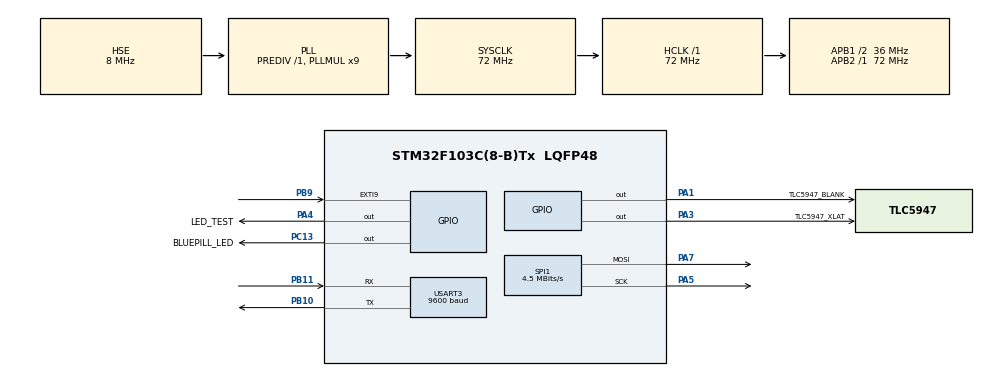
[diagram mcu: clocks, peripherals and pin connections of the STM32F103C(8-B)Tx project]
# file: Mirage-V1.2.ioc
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Mcu.Family=STM32F1
Mcu.Name=STM32F103C(8-B)Tx
Mcu.Package=LQFP48
NVIC.EXTI9_5_IRQn=true\:0\:0\:false\:false\:true\:true\:true
NVIC.PriorityGroup=NVIC_PRIORITYGROUP_4
NVIC.TIM3_IRQn=true\:0\:0\:false\:false\:true\:true\:true
PA1.GPIO_Label=TLC5947_BLANK
PA1.Signal=GPIO_Output
PA13.Mode=Serial_Wire
PA13.Signal=SYS_JTMS-SWDIO
PA14.Mode=Serial_Wire
PA14.Signal=SYS_JTCK-SWCLK
PA3.GPIO_Label=TLC5947_XLAT
PA3.Signal=GPIO_Output
PA4.GPIO_Label=LED_TEST
PA4.Signal=GPIO_Output
PA5.Mode=TX_Only_Simplex_Unidirect_Master
PA5.Signal=SPI1_SCK
PA7.Mode=TX_Only_Simplex_Unidirect_Master
PA7.Signal=SPI1_MOSI
PB10.Mode=Asynchronous
PB10.Signal=USART3_TX
PB11.Mode=Asynchronous
PB11.Signal=USART3_RX
PB9.Signal=GPXTI9
PC13-TAMPER-RTC.GPIO_Label=BLUEPILL_LED
PC13-TAMPER-RTC.Signal=GPIO_Output
PC14-OSC32_IN.Mode=LSE-External-Oscillator
PC14-OSC32_IN.Signal=RCC_OSC32_IN
PC15-OSC32_OUT.Mode=LSE-External-Oscillator
PC15-OSC32_OUT.Signal=RCC_OSC32_OUT
PD0-OSC_IN.Mode=HSE-External-Oscillator
PD0-OSC_IN.Signal=RCC_OSC_IN
PD1-OSC_OUT.Mode=HSE-External-Oscillator
PD1-OSC_OUT.Signal=RCC_OSC_OUT
ProjectManager.HeapSize=0x200
ProjectManager.StackSize=0x400
ProjectManager.TargetToolchain=STM32CubeIDE
RCC.AHBFreq_Value=72000000
RCC.APB1CLKDivider=RCC_HCLK_DIV2
RCC.APB1Freq_Value=36000000
RCC.APB1TimFreq_Value=72000000
RCC.APB2Freq_Value=72000000
RCC.APB2TimFreq_Value=72000000
RCC.HCLKFreq_Value=72000000
RCC.PLLMUL=RCC_PLL_MUL9
RCC.PLLSourceVirtual=RCC_PLLSOURCE_HSE
RCC.SYSCLKFreq_VALUE=72000000
RCC.SYSCLKSource=RCC_SYSCLKSOURCE_PLLCLK
RCC.USBFreq_Value=72000000
SPI1.BaudRatePrescaler=SPI_BAUDRATEPRESCALER_16
SPI1.CalculateBaudRate=4.5 MBits/s
SPI1.Direction=SPI_DIRECTION_2LINES
SPI1.Mode=SPI_MODE_MASTER
SPI1.VirtualType=VM_MASTER
TIM3.AutoReloadPreload=TIM_AUTORELOAD_PRELOAD_ENABLE
TIM3.Period=2000
TIM3.Prescaler=35999
USART3.BaudRate=9600
USART3.VirtualMode=VM_ASYNC
VP_TIM3_VS_ClockSourceINT.Mode=Internal
board=custom

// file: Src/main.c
/* USER CODE BEGIN Header */
/**
  ******************************************************************************
  * @file           : main.c
  * @brief          : Main program body
  ******************************************************************************
  * @attention
  *
  * <h2><center>&copy; Copyright (c) 2022 STMicroelectronics.
  * All rights reserved.</center></h2>
  *
  * This software component is licensed by ST under BSD 3-Clause license,
  * the "License"; You may not use this file except in compliance with the
  * License. You may obtain a copy of the License at:
  *                        opensource.org/licenses/BSD-3-Clause
  *
  ******************************************************************************
  */
/* USER CODE END Header */

#include "main.h"

/* USER CODE BEGIN Includes */
#include "mirage_spi.h" // macros para la conexion spi

/* USER CODE END Includes */

SPI_HandleTypeDef hspi1;

TIM_HandleTypeDef htim3;

UART_HandleTypeDef huart3;

/* USER CODE BEGIN PV */
uint16_t g_prevTime = 0 ,g_curTime = 0, g_tDelay = 0; //stores timertick
uint8_t uartByte; //used to send a byte through UART3

/*
 * SPI
 * https://www.bilibili.com/read/cv11912081/ 出处：bilibili
 */
uint8_t spi_send[SPI_BYTE_AMOUNT]={}; //acá escribo los valores a mandar via spi, lo incializo con todos los valores en 0

//uint16_t leds[24]=
//{
//512,512,1024,2048,2048,2048,
//2048,2048,2048,2048,2048,2048,
//2048,2048,2048,2048,2048,2048,
//2048,2048,3000,2048,2048,3072
//};

//RED por algun motivo flashero desde [15] hasta  [23] ponia 65355
uint16_t leds[24]=
{}; // todo en 0, le pongo valores con FillArray
uint8_t imain=0;
uint8_t flag=0;
/* USER CODE END PV */

void SystemClock_Config(void);
static void MX_GPIO_Init(void);
static void MX_SPI1_Init(void);
static void MX_TIM3_Init(void);
static void MX_USART3_UART_Init(void);
/* USER CODE BEGIN PFP */
//void TLC_Write(uint8_t data);// prototipo para mandar todo un vector de bytes
void TLC_Write(uint8_t data[]);// prototipo para mandar todo un vector de bytes

void TLC_Update(void);
void FillArray(uint8_t color);// prototipo para llenar el array en la prueba de los canales
/* USER CODE END PFP */

int main(void)
 {

  /* MCU Configuration--------------------------------------------------------*/

  /* Reset of all peripherals, Initializes the Flash interface and the Systick. */
  HAL_Init();

  /* Configure the system clock */
  SystemClock_Config();

  /* Initialize all configured peripherals */
  MX_GPIO_Init();
  MX_SPI1_Init();
  MX_TIM3_Init();
  MX_USART3_UART_Init();
  /* USER CODE BEGIN 2 */
  HAL_TIM_Base_Start_IT(&htim3);
//  HAL_TIM_Base_Start_IT(&htim2);

  FillArray(GREEN);
  //InitSPI();
  /* USER CODE END 2 */

  /* Infinite loop */
  /* USER CODE BEGIN WHILE */
//  HAL_GPIO_WritePin(TLC5947_BLANK_GPIO_Port, TLC5947_BLANK_Pin, GPIO_PIN_SET); // este pin en alto apaga los leds
//  FillArray(GREEN);
  while (1)
  {

/*
 * codigo de prueba de sensor hall via pulling

	  if(HAL_GPIO_ReadPin(GPIOB, GPIO_PIN_9) == GPIO_PIN_RESET) // hay lectura en el sensor hall
		  HAL_GPIO_WritePin(GPIOA, GPIO_PIN_4, GPIO_PIN_SET); // prendo el led
	  else
		  HAL_GPIO_WritePin(GPIOA, GPIO_PIN_4, GPIO_PIN_RESET); // apago el led
	  HAL_Delay(50);
*/

    /* USER CODE END WHILE */

    /* USER CODE BEGIN 3 */

//	  HAL_Delay(500);
//	 	  	TLC_Update();//renew PWM
//////	 	  	FillArray(imain);
//	 	  	if(imain > 2 )
//	 	  		imain = 0;
//	 	  	imain ++;
//	 	  	HAL_Delay(1);

  }
  /* USER CODE END 3 */
}

void SystemClock_Config(void)
{
  RCC_OscInitTypeDef RCC_OscInitStruct = {0};
  RCC_ClkInitTypeDef RCC_ClkInitStruct = {0};

  /** Initializes the CPU, AHB and APB busses clocks
  */
  RCC_OscInitStruct.OscillatorType = RCC_OSCILLATORTYPE_HSE;
  RCC_OscInitStruct.HSEState = RCC_HSE_ON;
  RCC_OscInitStruct.HSEPredivValue = RCC_HSE_PREDIV_DIV1;
  RCC_OscInitStruct.HSIState = RCC_HSI_ON;
  RCC_OscInitStruct.PLL.PLLState = RCC_PLL_ON;
  RCC_OscInitStruct.PLL.PLLSource = RCC_PLLSOURCE_HSE;
  RCC_OscInitStruct.PLL.PLLMUL = RCC_PLL_MUL9;
  if (HAL_RCC_OscConfig(&RCC_OscInitStruct) != HAL_OK)
  {
    Error_Handler();
  }
  /** Initializes the CPU, AHB and APB busses clocks
  */
  RCC_ClkInitStruct.ClockType = RCC_CLOCKTYPE_HCLK|RCC_CLOCKTYPE_SYSCLK
                              |RCC_CLOCKTYPE_PCLK1|RCC_CLOCKTYPE_PCLK2;
  RCC_ClkInitStruct.SYSCLKSource = RCC_SYSCLKSOURCE_PLLCLK;
  RCC_ClkInitStruct.AHBCLKDivider = RCC_SYSCLK_DIV1;
  RCC_ClkInitStruct.APB1CLKDivider = RCC_HCLK_DIV2;
  RCC_ClkInitStruct.APB2CLKDivider = RCC_HCLK_DIV1;

  if (HAL_RCC_ClockConfig(&RCC_ClkInitStruct, FLASH_LATENCY_2) != HAL_OK)
  {
    Error_Handler();
  }
}

static void MX_SPI1_Init(void)
{

  /* SPI1 parameter configuration*/
  hspi1.Instance = SPI1;
  hspi1.Init.Mode = SPI_MODE_MASTER;
  hspi1.Init.Direction = SPI_DIRECTION_2LINES;
  hspi1.Init.DataSize = SPI_DATASIZE_8BIT;
  hspi1.Init.CLKPolarity = SPI_POLARITY_LOW;
  hspi1.Init.CLKPhase = SPI_PHASE_1EDGE;
  hspi1.Init.NSS = SPI_NSS_SOFT;
  hspi1.Init.BaudRatePrescaler = SPI_BAUDRATEPRESCALER_16;
  hspi1.Init.FirstBit = SPI_FIRSTBIT_MSB;
  hspi1.Init.TIMode = SPI_TIMODE_DISABLE;
  hspi1.Init.CRCCalculation = SPI_CRCCALCULATION_DISABLE;
  hspi1.Init.CRCPolynomial = 10;
  if (HAL_SPI_Init(&hspi1) != HAL_OK)
  {
    Error_Handler();
  }

}

static void MX_TIM3_Init(void)
{

  TIM_ClockConfigTypeDef sClockSourceConfig = {0};
  TIM_MasterConfigTypeDef sMasterConfig = {0};

  htim3.Instance = TIM3;
  htim3.Init.Prescaler = 35999;
  htim3.Init.CounterMode = TIM_COUNTERMODE_UP;
  htim3.Init.Period = 2000;
  htim3.Init.ClockDivision = TIM_CLOCKDIVISION_DIV1;
  htim3.Init.AutoReloadPreload = TIM_AUTORELOAD_PRELOAD_ENABLE;
  if (HAL_TIM_Base_Init(&htim3) != HAL_OK)
  {
    Error_Handler();
  }
  sClockSourceConfig.ClockSource = TIM_CLOCKSOURCE_INTERNAL;
  if (HAL_TIM_ConfigClockSource(&htim3, &sClockSourceConfig) != HAL_OK)
  {
    Error_Handler();
  }
  sMasterConfig.MasterOutputTrigger = TIM_TRGO_RESET;
  sMasterConfig.MasterSlaveMode = TIM_MASTERSLAVEMODE_DISABLE;
  if (HAL_TIMEx_MasterConfigSynchronization(&htim3, &sMasterConfig) != HAL_OK)
  {
    Error_Handler();
  }

}

static void MX_USART3_UART_Init(void)
{

  huart3.Instance = USART3;
  huart3.Init.BaudRate = 9600;
  huart3.Init.WordLength = UART_WORDLENGTH_8B;
  huart3.Init.StopBits = UART_STOPBITS_1;
  huart3.Init.Parity = UART_PARITY_NONE;
  huart3.Init.Mode = UART_MODE_TX_RX;
  huart3.Init.HwFlowCtl = UART_HWCONTROL_NONE;
  huart3.Init.OverSampling = UART_OVERSAMPLING_16;
  if (HAL_UART_Init(&huart3) != HAL_OK)
  {
    Error_Handler();
  }

}

static void MX_GPIO_Init(void)
{
  GPIO_InitTypeDef GPIO_InitStruct = {0};

  /* GPIO Ports Clock Enable */
  __HAL_RCC_GPIOC_CLK_ENABLE();
  __HAL_RCC_GPIOD_CLK_ENABLE();
  __HAL_RCC_GPIOA_CLK_ENABLE();
  __HAL_RCC_GPIOB_CLK_ENABLE();

  /*Configure GPIO pin Output Level */
  HAL_GPIO_WritePin(BLUEPILL_LED_GPIO_Port, BLUEPILL_LED_Pin, GPIO_PIN_RESET);

  /*Configure GPIO pin Output Level */
  HAL_GPIO_WritePin(GPIOA, TLC5947_BLANK_Pin|TLC5947_XLAT_Pin|LED_TEST_Pin, GPIO_PIN_RESET);

  /*Configure GPIO pin : BLUEPILL_LED_Pin */
  GPIO_InitStruct.Pin = BLUEPILL_LED_Pin;
  GPIO_InitStruct.Mode = GPIO_MODE_OUTPUT_PP;
  GPIO_InitStruct.Pull = GPIO_NOPULL;
  GPIO_InitStruct.Speed = GPIO_SPEED_FREQ_LOW;
  HAL_GPIO_Init(BLUEPILL_LED_GPIO_Port, &GPIO_InitStruct);

  /*Configure GPIO pins : TLC5947_BLANK_Pin TLC5947_XLAT_Pin LED_TEST_Pin */
  GPIO_InitStruct.Pin = TLC5947_BLANK_Pin|TLC5947_XLAT_Pin|LED_TEST_Pin;
  GPIO_InitStruct.Mode = GPIO_MODE_OUTPUT_PP;
  GPIO_InitStruct.Pull = GPIO_NOPULL;
  GPIO_InitStruct.Speed = GPIO_SPEED_FREQ_LOW;
  HAL_GPIO_Init(GPIOA, &GPIO_InitStruct);

  /*Configure GPIO pin : PB9 */
  GPIO_InitStruct.Pin = GPIO_PIN_9;
  GPIO_InitStruct.Mode = GPIO_MODE_IT_RISING;
  GPIO_InitStruct.Pull = GPIO_NOPULL;
  HAL_GPIO_Init(GPIOB, &GPIO_InitStruct);

  /* EXTI interrupt init*/
  HAL_NVIC_SetPriority(EXTI9_5_IRQn, 0, 0);
  HAL_NVIC_EnableIRQ(EXTI9_5_IRQn);

}

/* USER CODE BEGIN 4 */

/**
  * @brief  Period elapsed callback in non blocking mode
  * @param  htim : TIM handle
  * @retval None
  */
void HAL_TIM_PeriodElapsedCallback(TIM_HandleTypeDef *htim)
{
  /* Prevent unused argument(s) compilation warning */
  UNUSED(htim);
  /* NOTE : This function Should not be modified, when the callback is needed,
            the __HAL_TIM_PeriodElapsedCallback could be implemented in the user file
   */
if(htim->Instance == TIM3)
  HAL_GPIO_TogglePin(BLUEPILL_LED_GPIO_Port, BLUEPILL_LED_Pin);//Prendo y apago el pin del board de bluepill cada 'x' segundos
//if(htim->Instance == TIM2)
//{
	  	TLC_Update();//renew PWM
	  	imain ++;
	  	if(imain > 2 )
	  		imain = 0;
	 	FillArray(imain);

//}

  /*
   * Entro en int del timer 3 cada 910.2us ya que
   * Eligo trabajar con el TLC a una frecuencia inferior a 5.6Mhz y tengo
   * clock stm32 = 72Mhz
   * PrescalerSpi = 16 => FSpi = 72M/16 = 4.5Mhz
   * Periodo para resetear GS* = 1/FSpi * 4096 = 910.2us
   * GS* = Greyscale
   * */

//  HAL_GPIO_WritePin(TLC5947_BLANK_GPIO_Port, TLC5947_BLANK_Pin, GPIO_PIN_SET); //Blank high apaga leds
//  HAL_GPIO_WritePin(TLC5947_XLAT_GPIO_Port, TLC5947_XLAT_Pin, GPIO_PIN_SET); // Xlatch high para leer los datos que envie
//  HAL_GPIO_WritePin(TLC5947_XLAT_GPIO_Port, TLC5947_XLAT_Pin, GPIO_PIN_RESET);// Xlatch low porque necesito pasar de high a low para indicar que haga la lectura
//  HAL_GPIO_WritePin(TLC5947_BLANK_GPIO_Port, TLC5947_BLANK_Pin, GPIO_PIN_RESET);//Blank low reinicio cuenta de GS
//  	  //envio data al tlc
//	for(i = 0; i<36; i++)
//	{
//		SendDataSPI(testbyte[i]);
//	}

}

/*
 * retorno de una INT externa de un pin
 * */
void HAL_GPIO_EXTI_Callback(uint16_t GPIO_Pin)
{
 static int count = 0;
 uint8_t sep = 0x69;

  /* Prevent unused argument(s) compilation warning */
  UNUSED(GPIO_Pin);
  /* NOTE: This function Should not be modified, when the callback is needed,
           the HAL_GPIO_EXTI_Callback could be implemented in the user file
   */

  //HAL_NVIC_DisableIRQ(EXTI9_5_IRQn);//buscar valor en stm32f103xb.h
  g_prevTime = g_curTime;
  if(GPIO_Pin == GPIO_PIN_9) // pin del sensor hall
  {
	  HAL_GPIO_TogglePin(GPIOA, LED_TEST_Pin); // prendo/apago el led
	  //HAL_GPIO_WritePin(GPIOA, LED_TEST_Pin, GPIO_PIN_SET);

	  g_curTime = HAL_GetTick(); //Provides a tick value in millisecond
	  count ++;
	  g_tDelay = (g_curTime - g_prevTime);
	  uartByte = (uint8_t)(g_tDelay & 0x00ff); // i keep only the first byte LSB

//	  HAL_UART_Transmit(&huart3, (uint8_t *)"Hello, world!\r\n", 15U, 100U);
	  HAL_UART_Transmit(&huart3, &uartByte, 1, 100U);
	  uartByte =(uint8_t)((g_tDelay >>8) & 0x00ff); // i read the second byte MSB
	  HAL_UART_Transmit(&huart3, &uartByte, 1, 100U);
	  HAL_UART_Transmit(&huart3, &sep, 1, 100U); // lo uso para separar cada medición

  }

  //HAL_GPIO_WritePin(GPIOA, GPIO_PIN_4, GPIO_PIN_RESET);
  //HAL_NVIC_EnableIRQ(EXTI9_5_IRQn);

}

/*
 * SPI
 */
void TLC_Update(void)
{
	uint8_t si = 0;//Lo uso para el vector a enviar via SPI

    HAL_GPIO_WritePin(TLC5947_BLANK_GPIO_Port, TLC5947_BLANK_Pin, GPIO_PIN_SET);
//		HAL_Delay(1);
//    for (int8_t ji = TOTAL_CHANNELS - 1 ; ji >= 0; ji -= 2)
//    {
//        uint8_t send1 = 0;
//        uint8_t send = leds[ji] >> 4; // mando MSB
//
//        spi_send[si]=send;//
//        si++;
////        TLC_Write(send);
//
//        send = (leds[ji] & 0x000F);
//        send <<= 4;
//        send1 = (leds[ji-1]) >> 8;
//        send |= send1; //me quedo con 4 bits menos significativos del canal i y 4 bits más significativos del canal i-1
//
//        spi_send[si]=send;//
//        si++;
//        //        TLC_Write(send);
//
//        send = leds[ji-1];//borro 4 bits más significativos del canal i-1 y mando LSB del canal i-1
//
//        spi_send[si]=send;//
//        si++;
////        TLC_Write(send);
//    }
    for (int8_t i = 0; i < TOTAL_CHANNELS; i += 2) // lleno
    {
        uint8_t send1 = 0;
        uint8_t send = leds[i] >> 4; // mando MSB

        spi_send[si]=send;//
        si++;

        send = (leds[i] & 0x000F);
        send <<= 4;
        send1 = (leds[i+1]) >> 8;
        send |= send1; //me quedo con 4 bits menos significativos del canal i y 4 bits más significativos del canal i-1

        spi_send[si]=send;//
        si++;

        send = leds[i+1];//borro 4 bits más significativos del canal i-1 y mando LSB del canal i-1

        spi_send[si]=send;//
        si++;

    }

//    for(int m =0;m<SPI_BYTE_AMOUNT;m++)
    TLC_Write(spi_send);

//    imain++;
//	FillArray(imain);
    HAL_GPIO_WritePin(TLC5947_XLAT_GPIO_Port, TLC5947_XLAT_Pin, GPIO_PIN_SET);
//		HAL_Delay(1);
    HAL_GPIO_WritePin(TLC5947_XLAT_GPIO_Port, TLC5947_XLAT_Pin, GPIO_PIN_RESET);
//		HAL_Delay(1);
    HAL_GPIO_WritePin(TLC5947_BLANK_GPIO_Port, TLC5947_BLANK_Pin, GPIO_PIN_RESET);
    return;

}

void TLC_Write(uint8_t data[])
//void TLC_Write(uint8_t *data)
{
//	uint8_t prueba = 0x00;
//	HAL_SPI_Transmit(&hspi1, &data[array_index], sizeof(data), 0); // envio via el sp1 de solo 1 byte
	HAL_SPI_Transmit(&hspi1,data, SPI_BYTE_AMOUNT,1000); // envio via el sp1 de 1 todos los bytes que tenga que mandar
////	HAL_SPI_Transmit(&hspi1,&prueba, sizeof(prueba),1000);
////HAL_SPI_Transmit(&hspi1,&data, sizeof(data),0);
//    while(HAL_SPI_GetState(&hspi1) != HAL_SPI_STATE_READY); // espero a que termine la transferen
    return;

}
/*
 * Uso esta funcion para llenar los vectores de prueba
 * por algún motivo al poner valores en dudo aparecian valores espúreos
 * en las últimas posiciones de 65535
 *
 */
void FillArray(uint8_t color)
{
	uint8_t position = 0, increment = 3,array_index = 0;
	uint16_t intensity = 32;
	switch(color)
	{
	case 0:
		position = 0;
		intensity = 4095;
		break;
	case 1:
		position = 1;
		intensity = 2048;
		break;
	case 2:
		position = 2;
		intensity = 1024;
		break;
	default:
		//RGB
//		increment = 1; // por el momento no lo uso
		break;
	}
	for (array_index= 0; array_index<TOTAL_CHANNELS;array_index++)
		leds[array_index] = 0;//borro todos los valores

	for (array_index=position; array_index<TOTAL_CHANNELS;array_index+=increment)
//		leds[array_index] = 4095*1/(position+1);//intensidad tenue
		leds[array_index] =intensity;
return;
}

/*
 * SPI
 */

/* USER CODE END 4 */

void Error_Handler(void)
{
}

/************************ (C) COPYRIGHT STMicroelectronics *****END OF FILE****/
